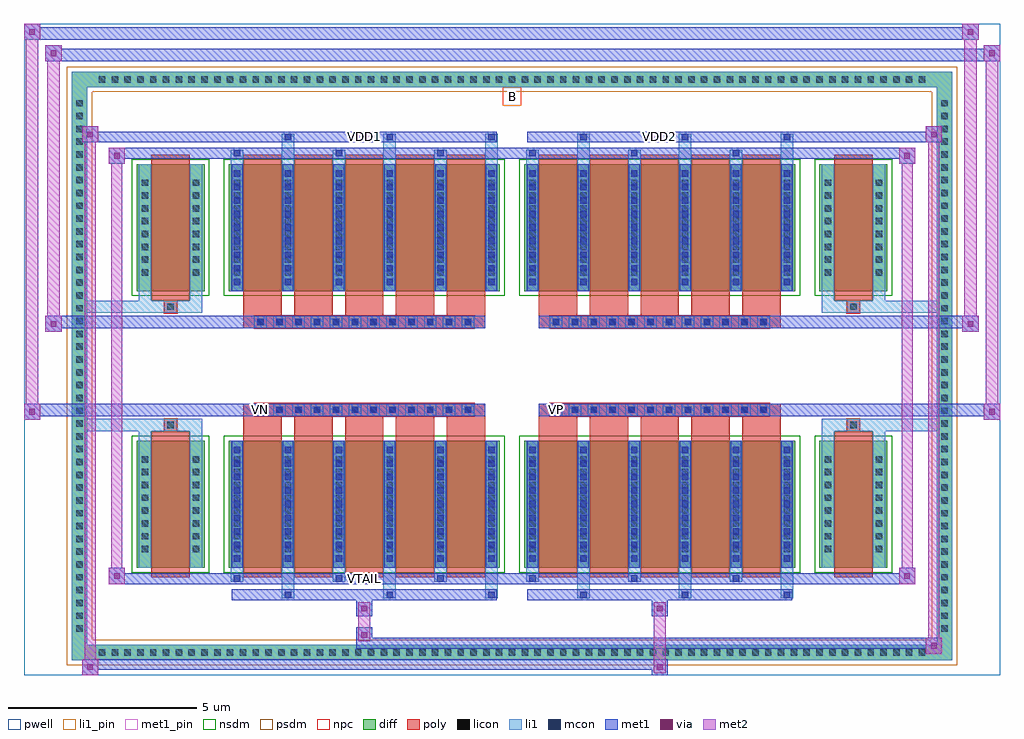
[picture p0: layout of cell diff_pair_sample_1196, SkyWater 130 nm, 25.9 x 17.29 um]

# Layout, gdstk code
import gdstk
lib = gdstk.Library(unit=1e-6, precision=5e-09)
def R(c, l, rs):  # rectangles x0, y0, x1, y1
    for r in rs: c.add(gdstk.rectangle(r[:2], r[2:], *l))
def A(c, l, x, y, w, h, nx, ny, dx, dy):  # array of equal rectangles
    R(c, l, [(x+i*dx, y+j*dy, x+i*dx+w, y+j*dy+h) for i in range(nx) for j in range(ny)])
def P(c, l, *ps):  # polygons
    for p in ps: c.add(gdstk.Polygon(p, *l))
pwell = (64, 44)
diff = (65, 20)
poly = (66, 20)
licon = (66, 44)
li1_pin = (67, 16)
li1 = (67, 20)
mcon = (67, 44)
met1_pin = (68, 16)
met1 = (68, 20)
via = (68, 44)
met2 = (69, 20)
nsdm = (93, 44)
psdm = (94, 20)
npc = (95, 20)

diff_pair_sample_1196 = lib.new_cell('diff_pair_sample_1196')
R(diff_pair_sample_1196, pwell, [(-12.95,-8.21,12.95,9.08), (-10.27,-6.4,-0.01,-0.8), (0.01,-6.4,10.27,-0.8), (-10.27,0.8,-0.01,6.4), (0.01,0.8,10.27,6.4)])
A(diff_pair_sample_1196, diff, -11.085, -7.81, 0.41, 0.41, 65, 2, 0.34, 15.21)
A(diff_pair_sample_1196, diff, -11.68, -7.175, 0.41, 0.41, 1, 42, 0, 0.34)
A(diff_pair_sample_1196, diff, 11.27, -7.175, 0.41, 0.41, 1, 42, 0, 0.34)
R(diff_pair_sample_1196, diff, [(-11.085,-7.81,11.085,-7.4), (-11.68,-7.175,-11.27,7.175), (11.27,-7.175,11.68,7.175), (-9.96,-5.355,-8.16,-1.985), (-7.52,-5.355,-0.32,-1.985), (0.32,-5.355,7.52,-1.985), (8.16,-5.355,9.96,-1.985), (-9.96,1.985,-8.16,5.355), (-7.52,1.985,-0.32,5.355), (0.32,1.985,7.52,5.355), (8.16,1.985,9.96,5.355), (-11.085,7.4,11.085,7.81)])
P(diff_pair_sample_1196, diff, [(11.68,7.81),(-11.68,7.81),(-11.68,-7.4),(-11.27,-7.4),(-11.27,7.4),(11.27,7.4),(11.27,-7.4),(-11.27,-7.4),(-11.68,-7.4),(-11.68,-7.81),(11.68,-7.81)])
A(diff_pair_sample_1196, poly, -7.13, -5.605, 1.02, 3.87, 5, 2, 1.35, 7.34)
A(diff_pair_sample_1196, poly, 0.71, -5.605, 1.02, 3.87, 5, 2, 1.35, 7.34)
A(diff_pair_sample_1196, poly, -7.13, -1.735, 1.02, 0.405, 5, 2, 1.35, 3.065)
A(diff_pair_sample_1196, poly, 0.71, -1.735, 1.02, 0.405, 5, 2, 1.35, 3.065)
A(diff_pair_sample_1196, poly, -6.835, -1.33, 0.33, 0.33, 12, 2, 0.5, 2.33)
A(diff_pair_sample_1196, poly, 1.005, -1.33, 0.33, 0.33, 12, 2, 0.5, 2.33)
R(diff_pair_sample_1196, poly, [(-9.57,-5.605,-8.55,-1.735), (8.55,-5.605,9.57,-1.735), (-9.225,-1.735,-8.895,-1.405), (-9.225,-1.735,-8.895,-1.405), (8.895,-1.735,9.225,-1.405), (8.895,-1.735,9.225,-1.405), (-7.13,-1.33,-0.71,-1), (0.71,-1.33,7.13,-1), (-7.13,1,-0.71,1.33), (0.71,1,7.13,1.33), (-9.225,1.405,-8.895,1.735), (-9.225,1.405,-8.895,1.735), (8.895,1.405,9.225,1.735), (8.895,1.405,9.225,1.735), (-9.57,1.735,-8.55,5.605), (8.55,1.735,9.57,5.605)])
A(diff_pair_sample_1196, licon, -10.965, -7.69, 0.17, 0.17, 65, 2, 0.34, 15.21)
A(diff_pair_sample_1196, licon, -11.56, -7.055, 0.17, 0.17, 1, 42, 0, 0.34)
A(diff_pair_sample_1196, licon, 11.39, -7.055, 0.17, 0.17, 1, 42, 0, 0.34)
A(diff_pair_sample_1196, licon, -9.82, -4.945, 0.17, 0.17, 1, 8, 0, 0.34)
A(diff_pair_sample_1196, licon, -8.47, -4.945, 0.17, 0.17, 1, 8, 0, 0.34)
A(diff_pair_sample_1196, licon, -7.38, -4.945, 0.17, 0.17, 6, 8, 1.35, 0.34)
A(diff_pair_sample_1196, licon, 0.46, -4.945, 0.17, 0.17, 6, 8, 1.35, 0.34)
A(diff_pair_sample_1196, licon, 8.3, -4.945, 0.17, 0.17, 1, 8, 0, 0.34)
A(diff_pair_sample_1196, licon, 9.65, -4.945, 0.17, 0.17, 1, 8, 0, 0.34)
A(diff_pair_sample_1196, licon, -6.755, -1.25, 0.17, 0.17, 12, 2, 0.5, 2.33)
A(diff_pair_sample_1196, licon, 1.085, -1.25, 0.17, 0.17, 12, 2, 0.5, 2.33)
A(diff_pair_sample_1196, licon, -9.82, 2.395, 0.17, 0.17, 1, 8, 0, 0.34)
A(diff_pair_sample_1196, licon, -8.47, 2.395, 0.17, 0.17, 1, 8, 0, 0.34)
A(diff_pair_sample_1196, licon, -7.38, 2.395, 0.17, 0.17, 6, 8, 1.35, 0.34)
A(diff_pair_sample_1196, licon, 0.46, 2.395, 0.17, 0.17, 6, 8, 1.35, 0.34)
A(diff_pair_sample_1196, licon, 8.3, 2.395, 0.17, 0.17, 1, 8, 0, 0.34)
A(diff_pair_sample_1196, licon, 9.65, 2.395, 0.17, 0.17, 1, 8, 0, 0.34)
R(diff_pair_sample_1196, licon, [(-9.145,-1.655,-8.975,-1.485), (8.975,-1.655,9.145,-1.485), (-9.145,1.485,-8.975,1.655), (8.975,1.485,9.145,1.655)])
R(diff_pair_sample_1196, li1_pin, [(-0.25,6.9,0.25,7.4)])
A(diff_pair_sample_1196, li1, -11.045, -7.77, 0.33, 0.33, 65, 2, 0.34, 15.21)
A(diff_pair_sample_1196, li1, -11.64, -7.135, 0.33, 0.33, 1, 42, 0, 0.34)
A(diff_pair_sample_1196, li1, 11.31, -7.135, 0.33, 0.33, 1, 42, 0, 0.34)
A(diff_pair_sample_1196, li1, -6.11, -6.16, 0.33, 0.805, 3, 2, 2.7, 11.515)
A(diff_pair_sample_1196, li1, -6.03, -6.16, 0.17, 0.17, 3, 2, 2.7, 12.15)
A(diff_pair_sample_1196, li1, 1.73, -6.16, 0.33, 0.805, 3, 2, 2.7, 11.515)
A(diff_pair_sample_1196, li1, 1.81, -6.16, 0.17, 0.17, 3, 2, 2.7, 12.15)
A(diff_pair_sample_1196, li1, -7.46, -5.73, 0.33, 0.375, 3, 2, 2.7, 11.085)
A(diff_pair_sample_1196, li1, -7.38, -5.73, 0.17, 0.17, 3, 2, 2.7, 11.29)
A(diff_pair_sample_1196, li1, 0.38, -5.73, 0.33, 0.375, 3, 2, 2.7, 11.085)
A(diff_pair_sample_1196, li1, 0.46, -5.73, 0.17, 0.17, 3, 2, 2.7, 11.29)
A(diff_pair_sample_1196, li1, -7.46, -5.355, 0.33, 3.37, 6, 2, 1.35, 7.34)
A(diff_pair_sample_1196, li1, 0.38, -5.355, 0.33, 3.37, 6, 2, 1.35, 7.34)
A(diff_pair_sample_1196, li1, -7.38, -5.195, 0.17, 0.17, 6, 9, 1.35, 0.36)
A(diff_pair_sample_1196, li1, -7.38, -5.195, 0.17, 3.05, 6, 2, 1.35, 7.34)
A(diff_pair_sample_1196, li1, 0.46, -5.195, 0.17, 0.17, 6, 9, 1.35, 0.36)
A(diff_pair_sample_1196, li1, 0.46, -5.195, 0.17, 3.05, 6, 2, 1.35, 7.34)
A(diff_pair_sample_1196, li1, -9.9, -5.025, 0.33, 0.33, 1, 8, 0, 0.34)
A(diff_pair_sample_1196, li1, -8.55, -5.025, 0.33, 0.33, 1, 8, 0, 0.34)
A(diff_pair_sample_1196, li1, -7.46, -5.025, 0.33, 0.33, 6, 8, 1.35, 0.34)
A(diff_pair_sample_1196, li1, 0.38, -5.025, 0.33, 0.33, 6, 8, 1.35, 0.34)
A(diff_pair_sample_1196, li1, 8.22, -5.025, 0.33, 0.33, 1, 8, 0, 0.34)
A(diff_pair_sample_1196, li1, 9.57, -5.025, 0.33, 0.33, 1, 8, 0, 0.34)
A(diff_pair_sample_1196, li1, -6.835, -1.33, 0.33, 0.33, 12, 2, 0.5, 2.33)
A(diff_pair_sample_1196, li1, 1.005, -1.33, 0.33, 0.33, 12, 2, 0.5, 2.33)
A(diff_pair_sample_1196, li1, -7.38, 2.145, 0.17, 0.17, 6, 9, 1.35, 0.36)
A(diff_pair_sample_1196, li1, 0.46, 2.145, 0.17, 0.17, 6, 9, 1.35, 0.36)
A(diff_pair_sample_1196, li1, -9.9, 2.315, 0.33, 0.33, 1, 8, 0, 0.34)
A(diff_pair_sample_1196, li1, -8.55, 2.315, 0.33, 0.33, 1, 8, 0, 0.34)
A(diff_pair_sample_1196, li1, -7.46, 2.315, 0.33, 0.33, 6, 8, 1.35, 0.34)
A(diff_pair_sample_1196, li1, 0.38, 2.315, 0.33, 0.33, 6, 8, 1.35, 0.34)
A(diff_pair_sample_1196, li1, 8.22, 2.315, 0.33, 0.33, 1, 8, 0, 0.34)
A(diff_pair_sample_1196, li1, 9.57, 2.315, 0.33, 0.33, 1, 8, 0, 0.34)
R(diff_pair_sample_1196, li1, [(-11.68,-7.81,-11.27,-7.4), (-11.68,-7.81,-11.27,-7.4), (-11.27,-7.81,11.27,-7.4), (11.27,-7.81,11.68,-7.4), (11.27,-7.81,11.68,-7.4), (-11.68,-7.4,-11.27,7.4), (11.27,-7.4,11.68,7.4), (-9.9,-5.355,-9.57,-1.985), (-8.55,-5.355,-8.22,-1.985), (8.22,-5.355,8.55,-1.985), (9.57,-5.355,9.9,-1.985), (-9.9,-1.985,-9.57,-1.405), (-8.55,-1.985,-8.22,-1.405), (8.22,-1.985,8.55,-1.405), (9.57,-1.985,9.9,-1.405), (-11.68,-1.735,-9.225,-1.405), (-9.9,-1.735,-9.225,-1.405), (-9.225,-1.735,-8.895,-1.405), (-8.895,-1.735,-8.22,-1.405), (8.22,-1.735,8.895,-1.405), (8.895,-1.735,9.225,-1.405), (8.895,-1.735,11.68,-1.405), (9.225,-1.735,9.9,-1.405), (-11.68,1.405,-9.225,1.735), (-9.9,1.405,-9.225,1.735), (-9.9,1.405,-9.57,1.985), (-9.225,1.405,-8.895,1.735), (-8.895,1.405,-8.22,1.735), (-8.55,1.405,-8.22,1.985), (8.22,1.405,8.895,1.735), (8.22,1.405,8.55,1.985), (8.895,1.405,9.225,1.735), (8.895,1.405,11.68,1.735), (9.225,1.405,9.9,1.735), (9.57,1.405,9.9,1.985), (-9.9,1.985,-9.57,5.355), (-8.55,1.985,-8.22,5.355), (8.22,1.985,8.55,5.355), (9.57,1.985,9.9,5.355), (-11.68,7.4,-11.27,7.81), (-11.68,7.4,-11.27,7.81), (-11.27,7.4,11.27,7.81), (11.27,7.4,11.68,7.81), (11.27,7.4,11.68,7.81)])
A(diff_pair_sample_1196, mcon, -6.03, -6.16, 0.17, 0.17, 3, 2, 2.7, 12.15)
A(diff_pair_sample_1196, mcon, 1.81, -6.16, 0.17, 0.17, 3, 2, 2.7, 12.15)
A(diff_pair_sample_1196, mcon, -7.38, -5.73, 0.17, 0.17, 3, 2, 2.7, 11.29)
A(diff_pair_sample_1196, mcon, 0.46, -5.73, 0.17, 0.17, 3, 2, 2.7, 11.29)
A(diff_pair_sample_1196, mcon, -7.38, -5.195, 0.17, 0.17, 6, 9, 1.35, 0.36)
A(diff_pair_sample_1196, mcon, 0.46, -5.195, 0.17, 0.17, 6, 9, 1.35, 0.36)
A(diff_pair_sample_1196, mcon, -6.755, -1.25, 0.17, 0.17, 12, 2, 0.5, 2.33)
A(diff_pair_sample_1196, mcon, 1.085, -1.25, 0.17, 0.17, 12, 2, 0.5, 2.33)
A(diff_pair_sample_1196, mcon, -7.38, 2.145, 0.17, 0.17, 6, 9, 1.35, 0.36)
A(diff_pair_sample_1196, mcon, 0.46, 2.145, 0.17, 0.17, 6, 9, 1.35, 0.36)
R(diff_pair_sample_1196, met1_pin, [(-4.055,-5.77,-3.785,-5.5), (-6.805,-1.29,-6.535,-1.02), (1.035,-1.29,1.305,-1.02), (-4.055,5.95,-3.785,6.22), (3.785,5.95,4.055,6.22)])
A(diff_pair_sample_1196, met1, -6.09, -6.22, 0.29, 0.29, 3, 2, 2.7, 12.15)
A(diff_pair_sample_1196, met1, 1.75, -6.22, 0.29, 0.29, 3, 2, 2.7, 12.15)
A(diff_pair_sample_1196, met1, -7.44, -5.79, 0.29, 0.29, 3, 2, 2.7, 11.29)
A(diff_pair_sample_1196, met1, 0.4, -5.79, 0.29, 0.29, 3, 2, 2.7, 11.29)
A(diff_pair_sample_1196, met1, -7.44, -5.355, 0.29, 3.37, 6, 2, 1.35, 7.34)
A(diff_pair_sample_1196, met1, 0.4, -5.355, 0.29, 3.37, 6, 2, 1.35, 7.34)
A(diff_pair_sample_1196, met1, -7.44, -5.255, 0.29, 0.29, 6, 9, 1.35, 0.36)
A(diff_pair_sample_1196, met1, 0.4, -5.255, 0.29, 0.29, 6, 9, 1.35, 0.36)
A(diff_pair_sample_1196, met1, -6.815, -1.31, 0.29, 0.29, 12, 2, 0.5, 2.33)
A(diff_pair_sample_1196, met1, 1.025, -1.31, 0.29, 0.29, 12, 2, 0.5, 2.33)
A(diff_pair_sample_1196, met1, -7.44, 2.085, 0.29, 0.29, 6, 9, 1.35, 0.36)
A(diff_pair_sample_1196, met1, 0.4, 2.085, 0.29, 0.29, 6, 9, 1.35, 0.36)
R(diff_pair_sample_1196, met1, [(-11.41,-8.21,-10.98,-7.78), (3.705,-8.21,4.135,-7.78), (-11.41,-8.07,4.135,-7.78), (10.98,-7.64,11.41,-7.21), (-4.135,-7.5,11.41,-7.21), (-4.135,-7.36,-3.705,-6.93), (-4.135,-6.65,-3.705,-6.22), (3.705,-6.65,4.135,-6.22), (-7.44,-6.22,-0.4,-5.93), (0.4,-6.22,7.44,-5.93), (-10.7,-5.79,-10.27,-5.36), (-10.7,-5.79,-7.44,-5.5), (-7.44,-5.79,-0.4,-5.5), (-0.4,-5.79,0.4,-5.5), (0.4,-5.79,7.44,-5.5), (7.44,-5.79,10.7,-5.5), (10.27,-5.79,10.7,-5.36), (-12.95,-1.43,-12.52,-1), (12.52,-1.43,12.95,-1), (-12.95,-1.33,-0.71,-1), (-7.13,-1.33,-0.71,-1), (0.71,-1.33,7.13,-1), (0.71,-1.33,12.95,-1), (-12.38,0.9,-11.95,1.33), (11.95,0.9,12.38,1.33), (-12.38,1,-7.13,1.33), (-7.13,1,-0.71,1.33), (0.71,1,7.13,1.33), (7.13,1,12.38,1.33), (-10.7,5.36,-10.27,5.79), (10.27,5.36,10.7,5.79), (-10.7,5.5,-7.44,5.79), (-7.44,5.5,-0.4,5.79), (-0.4,5.5,0.4,5.79), (0.4,5.5,7.44,5.79), (7.44,5.5,10.7,5.79), (-11.41,5.93,-10.98,6.36), (-11.41,5.93,-7.44,6.22), (-7.44,5.93,-0.4,6.22), (0.4,5.93,7.44,6.22), (7.44,5.93,11.41,6.22), (10.98,5.93,11.41,6.36), (-12.38,8.08,-11.95,8.51), (-12.38,8.08,-10.27,8.41), (-10.27,8.08,10.27,8.41), (10.27,8.08,12.95,8.41), (12.52,8.08,12.95,8.51), (-12.95,8.65,-12.52,9.08), (-12.95,8.65,-10.27,8.98), (-10.27,8.65,10.27,8.98), (10.27,8.65,12.38,8.98), (11.95,8.65,12.38,9.08)])
R(diff_pair_sample_1196, via, [(-11.27,-8.07,-11.12,-7.92), (3.845,-8.07,3.995,-7.92), (11.12,-7.5,11.27,-7.35), (-3.995,-7.22,-3.845,-7.07), (-3.995,-6.51,-3.845,-6.36), (3.845,-6.51,3.995,-6.36), (-10.56,-5.65,-10.41,-5.5), (10.41,-5.65,10.56,-5.5), (-12.81,-1.29,-12.66,-1.14), (12.66,-1.29,12.81,-1.14), (-12.24,1.04,-12.09,1.19), (12.09,1.04,12.24,1.19), (-10.56,5.5,-10.41,5.65), (10.41,5.5,10.56,5.65), (-11.27,6.07,-11.12,6.22), (11.12,6.07,11.27,6.22), (-12.24,8.22,-12.09,8.37), (12.66,8.22,12.81,8.37), (-12.81,8.79,-12.66,8.94), (12.09,8.79,12.24,8.94)])
R(diff_pair_sample_1196, met2, [(-11.41,-8.21,-10.98,-7.78), (-11.34,-8.21,-11.05,6.36), (-11.05,-8.21,-10.98,-7.78), (-11.36,-8.16,-11.03,-7.83), (3.755,-8.16,4.085,-7.83), (3.755,-7.83,4.085,-6.6), (10.98,-7.64,11.41,-7.21), (11.05,-7.64,11.34,6.36), (11.34,-7.64,11.41,-7.21), (11.03,-7.59,11.36,-7.26), (-4.085,-7.31,-3.755,-6.98), (-4.085,-6.98,-3.755,-6.6), (-4.085,-6.6,-3.755,-6.27), (3.755,-6.6,4.085,-6.27), (-10.7,-5.79,-10.27,-5.36), (-10.63,-5.79,-10.34,5.79), (-10.34,-5.79,-10.27,-5.36), (10.27,-5.79,10.7,-5.36), (10.34,-5.79,10.63,5.79), (10.63,-5.79,10.7,-5.36), (-10.65,-5.74,-10.32,-5.41), (10.32,-5.74,10.65,-5.41), (-12.95,-1.43,-12.52,-1), (-12.9,-1.43,-12.57,9.08), (-12.57,-1.43,-12.52,-1), (12.52,-1.43,12.95,-1), (12.57,-1.43,12.9,8.51), (12.9,-1.43,12.95,-1), (-12.9,-1.38,-12.57,-1.05), (12.57,-1.38,12.9,-1.05), (-12.38,0.9,-11.95,1.33), (-12.33,0.9,-12,8.51), (-12,0.9,-11.95,1.33), (11.95,0.9,12.38,1.33), (12,0.9,12.33,9.08), (12.33,0.9,12.38,1.33), (-12.33,0.95,-12,1.28), (12,0.95,12.33,1.28), (-10.7,5.36,-10.27,5.79), (-10.34,5.36,-10.27,5.79), (10.27,5.36,10.7,5.79), (10.63,5.36,10.7,5.79), (-10.65,5.41,-10.32,5.74), (10.32,5.41,10.65,5.74), (-11.41,5.93,-10.98,6.36), (-11.05,5.93,-10.98,6.36), (10.98,5.93,11.41,6.36), (11.34,5.93,11.41,6.36), (-11.36,5.98,-11.03,6.31), (11.03,5.98,11.36,6.31), (-12.38,8.08,-11.95,8.51), (-12,8.08,-11.95,8.51), (12.52,8.08,12.95,8.51), (12.9,8.08,12.95,8.51), (-12.33,8.13,-12,8.46), (12.57,8.13,12.9,8.46), (-12.95,8.65,-12.52,9.08), (-12.57,8.65,-12.52,9.08), (11.95,8.65,12.38,9.08), (12.33,8.65,12.38,9.08), (-12.9,8.7,-12.57,9.03), (12,8.7,12.33,9.03)])
R(diff_pair_sample_1196, nsdm, [(-10.09,-5.485,-8.03,-1.855), (-7.65,-5.485,-0.19,-1.855), (0.19,-5.485,7.65,-1.855), (8.03,-5.485,10.09,-1.855), (-10.09,1.855,-8.03,5.485), (-7.65,1.855,-0.19,5.485), (0.19,1.855,7.65,5.485), (8.03,1.855,10.09,5.485)])
P(diff_pair_sample_1196, psdm, [(11.81,7.94),(-11.81,7.94),(-11.81,-7.27),(-11.14,-7.27),(-11.14,7.27),(11.14,7.27),(11.14,-7.27),(-11.14,-7.27),(-11.81,-7.27),(-11.81,-7.94),(11.81,-7.94)])
A(diff_pair_sample_1196, npc, -6.855, -1.35, 0.37, 0.37, 12, 2, 0.5, 2.33)
A(diff_pair_sample_1196, npc, 0.985, -1.35, 0.37, 0.37, 12, 2, 0.5, 2.33)
R(diff_pair_sample_1196, npc, [(-9.245,-1.755,-8.875,-1.385), (8.875,-1.755,9.245,-1.385), (-6.855,-1.35,-5.985,-0.98), (-6.855,-1.35,-5.985,-0.98), (-6.355,-1.35,-5.485,-0.98), (-6.355,-1.35,-5.485,-0.98), (-5.855,-1.35,-4.985,-0.98), (-5.855,-1.35,-4.985,-0.98), (-5.355,-1.35,-4.485,-0.98), (-5.355,-1.35,-4.485,-0.98), (-4.855,-1.35,-3.985,-0.98), (-4.855,-1.35,-3.985,-0.98), (-4.355,-1.35,-3.485,-0.98), (-4.355,-1.35,-3.485,-0.98), (-3.855,-1.35,-2.985,-0.98), (-3.855,-1.35,-2.985,-0.98), (-3.355,-1.35,-2.485,-0.98), (-3.355,-1.35,-2.485,-0.98), (-2.855,-1.35,-1.985,-0.98), (-2.855,-1.35,-1.985,-0.98), (-2.355,-1.35,-1.485,-0.98), (-2.355,-1.35,-1.485,-0.98), (-1.855,-1.35,-0.985,-0.98), (-1.855,-1.35,-0.985,-0.98), (0.985,-1.35,1.855,-0.98), (0.985,-1.35,1.855,-0.98), (1.485,-1.35,2.355,-0.98), (1.485,-1.35,2.355,-0.98), (1.985,-1.35,2.855,-0.98), (1.985,-1.35,2.855,-0.98), (2.485,-1.35,3.355,-0.98), (2.485,-1.35,3.355,-0.98), (2.985,-1.35,3.855,-0.98), (2.985,-1.35,3.855,-0.98), (3.485,-1.35,4.355,-0.98), (3.485,-1.35,4.355,-0.98), (3.985,-1.35,4.855,-0.98), (3.985,-1.35,4.855,-0.98), (4.485,-1.35,5.355,-0.98), (4.485,-1.35,5.355,-0.98), (4.985,-1.35,5.855,-0.98), (4.985,-1.35,5.855,-0.98), (5.485,-1.35,6.355,-0.98), (5.485,-1.35,6.355,-0.98), (5.985,-1.35,6.855,-0.98), (5.985,-1.35,6.855,-0.98), (-6.855,0.98,-5.985,1.35), (-6.855,0.98,-5.985,1.35), (-6.355,0.98,-5.485,1.35), (-6.355,0.98,-5.485,1.35), (-5.855,0.98,-4.985,1.35), (-5.855,0.98,-4.985,1.35), (-5.355,0.98,-4.485,1.35), (-5.355,0.98,-4.485,1.35), (-4.855,0.98,-3.985,1.35), (-4.855,0.98,-3.985,1.35), (-4.355,0.98,-3.485,1.35), (-4.355,0.98,-3.485,1.35), (-3.855,0.98,-2.985,1.35), (-3.855,0.98,-2.985,1.35), (-3.355,0.98,-2.485,1.35), (-3.355,0.98,-2.485,1.35), (-2.855,0.98,-1.985,1.35), (-2.855,0.98,-1.985,1.35), (-2.355,0.98,-1.485,1.35), (-2.355,0.98,-1.485,1.35), (-1.855,0.98,-0.985,1.35), (-1.855,0.98,-0.985,1.35), (0.985,0.98,1.855,1.35), (0.985,0.98,1.855,1.35), (1.485,0.98,2.355,1.35), (1.485,0.98,2.355,1.35), (1.985,0.98,2.855,1.35), (1.985,0.98,2.855,1.35), (2.485,0.98,3.355,1.35), (2.485,0.98,3.355,1.35), (2.985,0.98,3.855,1.35), (2.985,0.98,3.855,1.35), (3.485,0.98,4.355,1.35), (3.485,0.98,4.355,1.35), (3.985,0.98,4.855,1.35), (3.985,0.98,4.855,1.35), (4.485,0.98,5.355,1.35), (4.485,0.98,5.355,1.35), (4.985,0.98,5.855,1.35), (4.985,0.98,5.855,1.35), (5.485,0.98,6.355,1.35), (5.485,0.98,6.355,1.35), (5.985,0.98,6.855,1.35), (5.985,0.98,6.855,1.35), (-9.245,1.385,-8.875,1.755), (8.875,1.385,9.245,1.755)])
diff_pair_sample_1196.add(gdstk.Label('VTAIL', (-3.92,-5.635), layer=68, texttype=5))
diff_pair_sample_1196.add(gdstk.Label('VN', (-6.67,-1.155), layer=68, texttype=5))
diff_pair_sample_1196.add(gdstk.Label('VP', (1.17,-1.155), layer=68, texttype=5))
diff_pair_sample_1196.add(gdstk.Label('B', (0,7.15), layer=67, texttype=5))
diff_pair_sample_1196.add(gdstk.Label('VDD2', (3.92,6.085), layer=68, texttype=5))
diff_pair_sample_1196.add(gdstk.Label('VDD1', (-3.92,6.085), layer=68, texttype=5))

lib.write_gds('diff_pair_sample_1196.gds')
